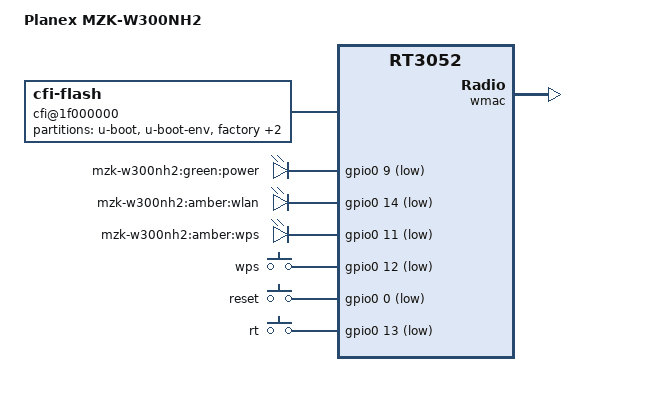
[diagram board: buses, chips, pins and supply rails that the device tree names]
/dts-v1/;

#include "rt3050.dtsi"

/ {
	compatible = "MZK-W300NH2", "ralink,rt3052-soc";
	model = "Planex MZK-W300NH2";

	cfi@1f000000 {
		compatible = "cfi-flash";
		reg = <0x1f000000 0x800000>;
		bank-width = <2>;
		device-width = <2>;
		#address-cells = <1>;
		#size-cells = <1>;

		partition@0 {
			label = "u-boot";
			reg = <0x0 0x30000>;
			read-only;
		};

		partition@30000 {
			label = "u-boot-env";
			reg = <0x30000 0x10000>;
			read-only;
		};

		factory: partition@40000 {
			label = "factory";
			reg = <0x40000 0x10000>;
			read-only;
		};

		partition@3e0000 {
			label = "cimage";
			reg = <0x3e0000 0x20000>;
			read-only;
		};

		partition@50000 {
			label = "firmware";
			reg = <0x50000 0x390000>;
		};
	};

	gpio-leds {
		compatible = "gpio-leds";

		power {
			label = "mzk-w300nh2:green:power";
			gpios = <&gpio0 9 1>;
		};

		wlan {
			label = "mzk-w300nh2:amber:wlan";
			gpios = <&gpio0 14 1>;
		};

		wps {
			label = "mzk-w300nh2:amber:wps";
			gpios = <&gpio0 11 1>;
		};
	};

	gpio-keys-polled {
		compatible = "gpio-keys-polled";
		#address-cells = <1>;
		#size-cells = <0>;
		poll-interval = <20>;

		wps {
			label = "wps";
			gpios = <&gpio0 12 1>;
			linux,code = <0x211>;
		};

		reset {
			label = "reset";
			gpios = <&gpio0 0 1>;
			linux,code = <0x198>;
		};

		rt {
			label = "rt";
			gpios = <&gpio0 13 1>;
			linux,code = <0x100>;
		};
	};
};

&pinctrl {
	state_default: pinctrl0 {
		gpio {
			ralink,group = "spi", "i2c", "jtag", "rgmii", "mdio", "uartf";
			ralink,function = "gpio";
		};
	};
};

&ethernet {
	mtd-mac-address = <&factory 0x4>;
};

&esw {
	mediatek,portmap = <0x2f>;
};

&wmac {
	ralink,mtd-eeprom = <&factory 0>;
};
